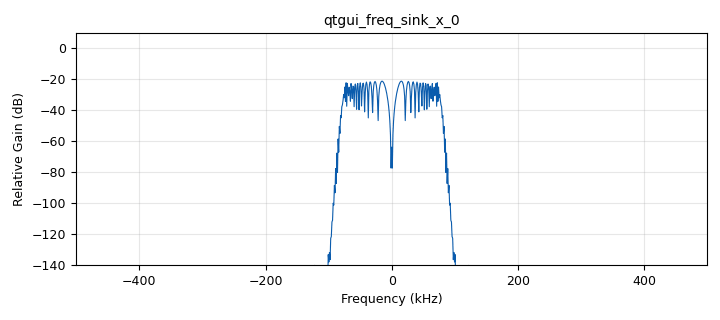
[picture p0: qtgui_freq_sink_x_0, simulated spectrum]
options:
  parameters:
    author: Bauti
    generate_options: qt_gui
    id: TPAMa
    output_language: python
    title: Not titled yet
  states: {}

blocks:
- name: deltaF
  id: variable
  parameters:
    value: 75e3
  states: {}
- name: samp_rate
  id: variable
  parameters:
    value: 1e6
  states: {}
- name: analog_frequency_modulator_fc_0
  id: analog_frequency_modulator_fc
  parameters:
    sensitivity: 2*np.pi*deltaF/samp_rate
  states: {}
- name: analog_frequency_modulator_fc_0_0
  id: analog_frequency_modulator_fc
  parameters:
    sensitivity: 2*np.pi*deltaF/samp_rate
  states: {state: disabled}
- name: analog_sig_source_x_0
  id: analog_sig_source_x
  parameters:
    amp: '1'
    comment: msj
    freq: 1e3
    offset: '0'
    phase: '0'
    samp_rate: samp_rate
    type: float
    waveform: analog.GR_SIN_WAVE
  states: {}
- name: blocks_add_const_vxx_0
  id: blocks_add_const_vxx
  parameters:
    const: '1'
    type: float
  states: {state: disabled}
- name: blocks_complex_to_float_0
  id: blocks_complex_to_float
  parameters: {}
  states: {}
- name: blocks_complex_to_float_0_0
  id: blocks_complex_to_float
  parameters: {}
  states: {state: disabled}
- name: blocks_throttle2_0
  id: blocks_throttle2
  parameters:
    samples_per_second: samp_rate
    type: float
  states: {}
- name: blocks_vco_f_0
  id: blocks_vco_f
  parameters:
    amplitude: '1'
    comment: |-
      Uso esto para modulación directa:
      https://en.wikipedia.org/wiki/Frequency_modulation#Implementation
    samp_rate: samp_rate
    sensitivity: 100e3
  states: {state: disabled}
- name: import_0
  id: import
  parameters:
    imports: import numpy as np
  states: {}
- name: qtgui_freq_sink_x_0
  id: qtgui_freq_sink_x
  parameters:
    bw: samp_rate
    ctrlpanel: 'True'
    fc: '0'
    fftsize: '1024'
    norm_window: 'True'
    type: float
  states: {}
- name: qtgui_time_sink_x_0
  id: qtgui_time_sink_x
  parameters:
    ctrlpanel: 'True'
    nconnections: '2'
    size: '1024'
    srate: samp_rate
    type: float
  states: {state: disabled}
- name: qtgui_time_sink_x_0_0
  id: qtgui_time_sink_x
  parameters:
    ctrlpanel: 'True'
    nconnections: '3'
    size: '1024'
    srate: samp_rate
    type: float
  states: {state: disabled}

connections:
- [analog_frequency_modulator_fc_0, '0', blocks_complex_to_float_0, '0']
- [analog_frequency_modulator_fc_0_0, '0', blocks_complex_to_float_0_0, '0']
- [analog_sig_source_x_0, '0', blocks_throttle2_0, '0']
- [blocks_add_const_vxx_0, '0', analog_frequency_modulator_fc_0_0, '0']
- [blocks_complex_to_float_0, '0', qtgui_freq_sink_x_0, '0']
- [blocks_complex_to_float_0, '0', qtgui_time_sink_x_0_0, '1']
- [blocks_complex_to_float_0_0, '0', qtgui_time_sink_x_0_0, '2']
- [blocks_throttle2_0, '0', analog_frequency_modulator_fc_0, '0']
- [blocks_throttle2_0, '0', blocks_add_const_vxx_0, '0']
- [blocks_throttle2_0, '0', blocks_vco_f_0, '0']
- [blocks_throttle2_0, '0', qtgui_time_sink_x_0, '1']
- [blocks_throttle2_0, '0', qtgui_time_sink_x_0_0, '0']
- [blocks_vco_f_0, '0', qtgui_time_sink_x_0, '0']

metadata:
  file_format: 1
  grc_version: 3.10.12.0
